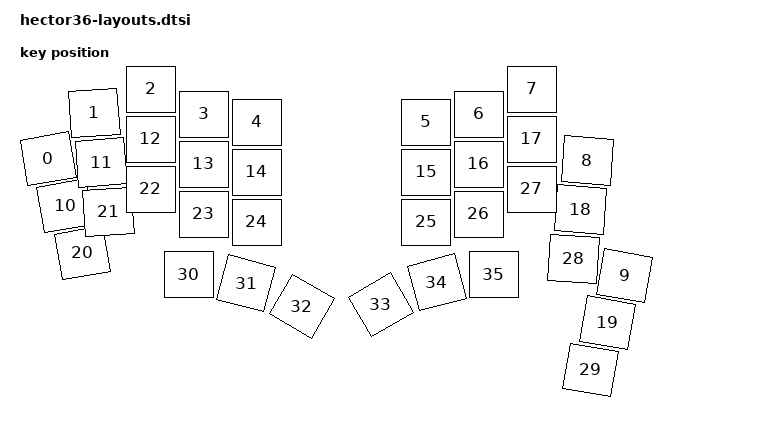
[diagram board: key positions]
#include <physical_layouts.dtsi>

/ {
    hector36_physical_layout: hector36_physical_layout {
        compatible = "zmk,physical-layout";
        display-name = "hector36";

        kscan = <&kscan0>;
        transform = <&default_transform>;

        keys  //                     w   h    x    y     rot    rx    ry
            = <&key_physical_attrs 106 100    0  152 (-1000)     0     0>
            , <&key_physical_attrs 106 100  119   60  (-400)     0     0>
            , <&key_physical_attrs 106 100  240    0       0     0     0>
            , <&key_physical_attrs 106 100  346   50       0     0     0>
            , <&key_physical_attrs 106 100  452   66       0     0     0>
            , <&key_physical_attrs 106 100  791   66       0     0     0>
            , <&key_physical_attrs 106 100  896   50       0     0     0>
            , <&key_physical_attrs 106 100 1002    0       0     0     0>
            , <&key_physical_attrs 106 100 1123   61     400     0     0>
            , <&key_physical_attrs 106 100 1242  152    1000     0     0>
            , <&key_physical_attrs 106 100   17  250 (-1000)     0     0>
            , <&key_physical_attrs 106 100  126  160  (-400)     0     0>
            , <&key_physical_attrs 106 100  240  100       0     0     0>
            , <&key_physical_attrs 106 100  346  150       0     0     0>
            , <&key_physical_attrs 106 100  452  166       0     0     0>
            , <&key_physical_attrs 106 100  791  166       0     0     0>
            , <&key_physical_attrs 106 100  896  150       0     0     0>
            , <&key_physical_attrs 106 100 1002  100       0     0     0>
            , <&key_physical_attrs 106 100 1116  160     400     0     0>
            , <&key_physical_attrs 106 100 1225  250    1000     0     0>
            , <&key_physical_attrs 106 100   35  349 (-1000)     0     0>
            , <&key_physical_attrs 106 100  133  260  (-400)     0     0>
            , <&key_physical_attrs 106 100  240  200       0     0     0>
            , <&key_physical_attrs 106 100  346  250       0     0     0>
            , <&key_physical_attrs 106 100  452  266       0     0     0>
            , <&key_physical_attrs 106 100  791  266       0     0     0>
            , <&key_physical_attrs 106 100  896  250       0     0     0>
            , <&key_physical_attrs 106 100 1002  200       0     0     0>
            , <&key_physical_attrs 106 100 1109  260     400     0     0>
            , <&key_physical_attrs 106 100 1208  349    1000     0     0>
            , <&key_physical_attrs 106 100  316  371       0     0     0>
            , <&key_physical_attrs 106 100  433  388    1500   483   428>
            , <&key_physical_attrs 106 100  542  433    3000   592   483>
            , <&key_physical_attrs 106 100  700  433 (-3000)   750   483>
            , <&key_physical_attrs 106 100  809  388 (-1500)   859   428>
            , <&key_physical_attrs 106 100  926  371       0     0     0>
            ;
    };
};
